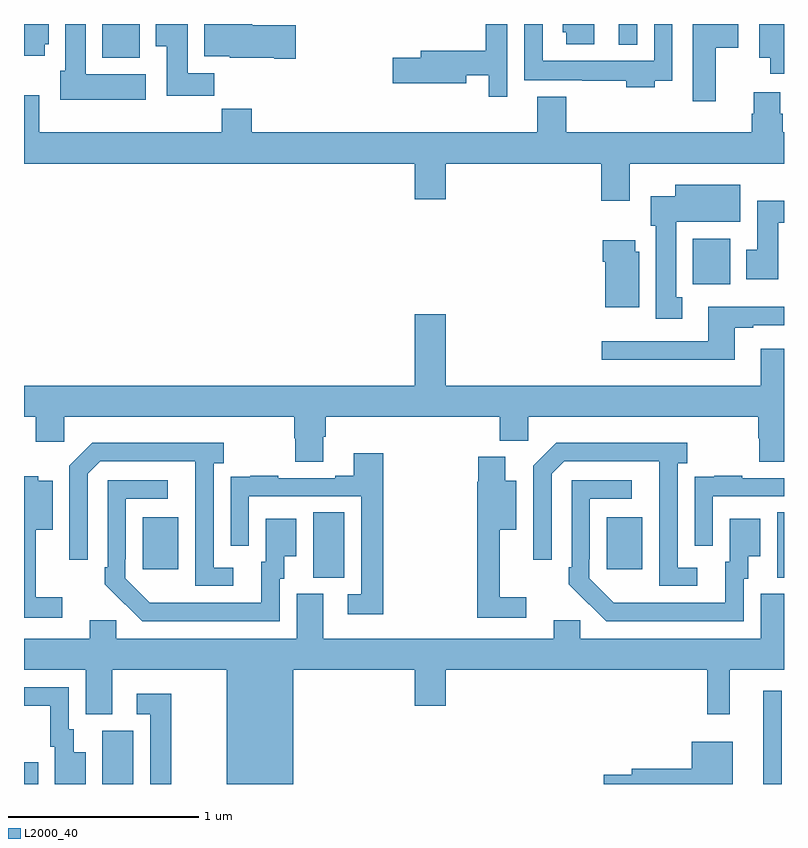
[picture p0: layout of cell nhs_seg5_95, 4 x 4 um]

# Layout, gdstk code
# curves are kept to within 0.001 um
import gdstk
lib = gdstk.Library(unit=1e-6, precision=1e-09)
def R(c, l, rs):  # rectangles x0, y0, x1, y1
    for r in rs: c.add(gdstk.rectangle(r[:2], r[2:], *l))
def P(c, l, *ps):  # polygons
    for p in ps: c.add(gdstk.Polygon(p, *l))
L2000_40 = (2000, 40)

nhs_seg5_95 = lib.new_cell('nhs_seg5_95')
R(nhs_seg5_95, L2000_40, [(115,882.799,115.074,882.913), (115.412,882.799,115.576,883.08), (118.892,882.799,118.989,883.291), (116.522,883.885,116.686,884.228), (118.964,883.885,119,884.228), (115.625,883.929,115.813,884.203), (118.067,883.929,118.255,884.203), (118.52,885.428,118.717,885.67), (115.412,886.622,115.609,886.799), (118.13,886.691,118.227,886.799)])
P(nhs_seg5_95, L2000_40, [(116.431,886.793),(116.2,886.793),(116.2,886.799),(115.949,886.799),(115.949,886.628),(116.082,886.628),(116.082,886.622),(116.318,886.622),(116.318,886.615),(116.431,886.615)],
  [(118,886.799),(117.836,886.799),(117.836,886.755),(117.854,886.755),(117.854,886.692),(118,886.692)],
  [(117.543,886.799),(117.431,886.799),(117.431,886.658),(117.089,886.658),(117.089,886.622),(116.94,886.622),(116.94,886.487),(117.328,886.487),(117.328,886.53),(117.447,886.53),(117.447,886.416),(117.543,886.416)],
  [(118.321,886.5),(118.413,886.5),(118.413,886.799),(118.317,886.799),(118.317,886.606),(117.729,886.606),(117.729,886.799),(117.633,886.799),(117.633,886.502),(117.937,886.502),(117.937,886.5),(118.169,886.5),(118.169,886.466),(118.321,886.466)],
  [(118.642,886.675),(118.759,886.675),(118.759,886.799),(118.52,886.799),(118.52,886.392),(118.642,886.392)],
  [(115.642,886.534),(115.324,886.534),(115.324,886.799),(115.217,886.799),(115.217,886.554),(115.19,886.554),(115.19,886.4),(115.642,886.4)],
  [(119,886.799),(118.871,886.799),(118.871,886.622),(118.928,886.622),(118.928,886.536),(119,886.536)],
  [(116,886.54),(115.861,886.54),(115.861,886.799),(115.694,886.799),(115.694,886.681),(115.751,886.681),(115.751,886.422),(116,886.422)],
  [(115.108,886.692),(115.129,886.692),(115.129,886.799),(115,886.799),(115,886.632),(115.108,886.632)],
  [(118.189,886.064),(119,886.064),(119,886.228),(118.994,886.228),(118.994,886.326),(118.981,886.326),(118.981,886.441),(118.841,886.441),(118.841,886.326),(118.829,886.326),(118.829,886.228),(117.854,886.228),(117.854,886.417),(117.701,886.417),(117.701,886.228),(116.198,886.228),(116.198,886.352),(116.041,886.352),(116.041,886.228),(115.081,886.228),(115.081,886.423),(115,886.423),(115,886.064),(117.056,886.064),(117.056,885.876),(117.22,885.876),(117.22,886.064),(118.037,886.064),(118.037,885.87),(118.189,885.87)],
  [(118.465,885.362),(118.432,885.362),(118.432,885.758),(118.771,885.758),(118.771,885.952),(118.427,885.952),(118.427,885.892),(118.298,885.892),(118.298,885.738),(118.325,885.738),(118.325,885.249),(118.465,885.249)],
  [(118.969,885.752),(119,885.752),(119,885.87),(118.859,885.87),(118.859,885.612),(118.802,885.612),(118.802,885.456),(118.969,885.456)],
  [(118.237,885.6),(118.216,885.6),(118.216,885.661),(118.046,885.661),(118.046,885.548),(118.058,885.548),(118.058,885.308),(118.237,885.308)],
  [(118.741,885.201),(118.837,885.201),(118.837,885.213),(119,885.213),(119,885.31),(118.601,885.31),(118.601,885.129),(118.041,885.129),(118.041,885.032),(118.741,885.032)],
  [(116.575,884.626),(116.588,884.626),(116.588,884.732),(117.503,884.732),(117.503,884.606),(117.654,884.606),(117.654,884.732),(118.865,884.732),(118.865,884.619),(118.87,884.619),(118.87,884.494),(119,884.494),(119,885.091),(118.877,885.091),(118.877,884.896),(117.22,884.896),(117.22,885.271),(117.056,885.271),(117.056,884.896),(115,884.896),(115,884.732),(115.061,884.732),(115.061,884.601),(115.212,884.601),(115.212,884.732),(116.423,884.732),(116.423,884.619),(116.428,884.619),(116.428,884.494),(116.575,884.494)],
  [(116.101,883.938),(115.998,883.938),(115.998,884.486),(116.05,884.486),(116.05,884.596),(115.36,884.596),(115.239,884.475),(115.239,883.98),(115.335,883.98),(115.335,884.433),(115.401,884.499),(115.901,884.499),(115.902,883.842),(116.101,883.842)],
  [(118.543,883.938),(118.44,883.938),(118.44,884.486),(118.492,884.486),(118.492,884.596),(117.802,884.596),(117.681,884.475),(117.681,883.98),(117.777,883.98),(117.777,884.433),(117.843,884.499),(118.343,884.499),(118.344,883.842),(118.543,883.842)],
  [(116.891,884.539),(116.735,884.539),(116.735,884.422),(116.639,884.422),(116.639,884.409),(116.339,884.409),(116.339,884.422),(116.191,884.422),(116.191,884.415),(116.089,884.415),(116.089,884.306),(116.088,884.306),(116.088,884.052),(116.184,884.052),(116.184,884.313),(116.775,884.313),(116.775,883.797),(116.703,883.797),(116.703,883.692),(116.891,883.692)],
  [(117.643,883.783),(117.503,883.783),(117.503,884.138),(117.592,884.138),(117.592,884.395),(117.532,884.395),(117.532,884.521),(117.392,884.521),(117.392,884.391),(117.385,884.391),(117.385,883.674),(117.643,883.674)],
  [(118.626,884.313),(119,884.313),(119,884.409),(118.781,884.409),(118.781,884.422),(118.633,884.422),(118.633,884.415),(118.531,884.415),(118.531,884.306),(118.53,884.306),(118.53,884.052),(118.626,884.052)],
  [(115.201,883.783),(115.061,883.783),(115.061,884.138),(115.15,884.138),(115.15,884.395),(115.074,884.395),(115.074,884.419),(115,884.419),(115,883.674),(115.201,883.674)],
  [(116.346,883.878),(116.371,883.878),(116.371,883.997),(116.434,883.997),(116.434,884.194),(116.273,884.194),(116.273,883.968),(116.249,883.968),(116.249,883.752),(115.662,883.753),(115.533,883.881),(115.533,883.981),(115.536,883.981),(115.536,884.301),(115.756,884.301),(115.756,884.397),(115.44,884.397),(115.44,883.939),(115.425,883.939),(115.425,883.851),(115.622,883.656),(116.346,883.656)],
  [(118.788,883.878),(118.813,883.878),(118.813,883.997),(118.876,883.997),(118.876,884.194),(118.715,884.194),(118.715,883.968),(118.691,883.968),(118.691,883.752),(118.104,883.753),(117.975,883.881),(117.975,883.981),(117.978,883.981),(117.978,884.301),(118.198,884.301),(118.198,884.397),(117.882,884.397),(117.882,883.939),(117.867,883.939),(117.867,883.851),(118.064,883.656),(118.788,883.656)],
  [(116.416,883.4),(117.056,883.4),(117.056,883.212),(117.22,883.212),(117.22,883.4),(118.597,883.4),(118.597,883.167),(118.715,883.167),(118.715,883.4),(119,883.4),(119,883.8),(118.877,883.8),(118.877,883.564),(117.927,883.564),(117.927,883.662),(117.788,883.662),(117.788,883.564),(116.575,883.564),(116.575,883.8),(116.435,883.8),(116.435,883.564),(115.485,883.564),(115.485,883.662),(115.346,883.662),(115.346,883.564),(115,883.564),(115,883.4),(115.325,883.4),(115.325,883.165),(115.465,883.165),(115.465,883.4),(116.066,883.4),(116.066,882.799),(116.416,882.799)],
  [(115.324,882.967),(115.261,882.967),(115.261,883.086),(115.236,883.086),(115.236,883.308),(115,883.308),(115,883.212),(115.139,883.212),(115.139,882.996),(115.163,882.996),(115.163,882.799),(115.324,882.799)],
  [(115.774,883.273),(115.593,883.273),(115.593,883.167),(115.665,883.167),(115.665,882.799),(115.774,882.799)],
  [(118.729,883.021),(118.514,883.021),(118.514,882.878),(118.199,882.878),(118.199,882.848),(118.05,882.848),(118.05,882.799),(118.729,882.799)])

lib.write_gds('nhs_seg5_95.gds')
